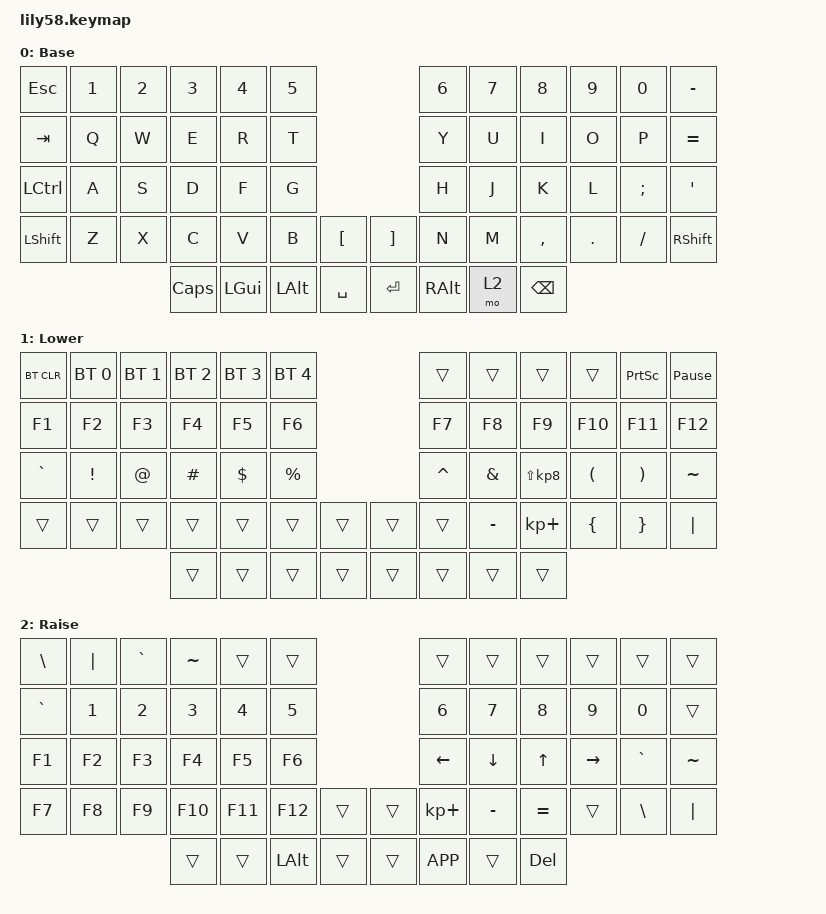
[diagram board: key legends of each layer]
/*
 * Based on github.com/typeractivexyz/lily58-wireless-zmk-config (MIT).
 * Encoder sensor-bindings removed (no encoders).
 */

/*
 * Copyright (c) 2020 The ZMK Contributors
 *
 * SPDX-License-Identifier: MIT
 */

#include <behaviors.dtsi>
#include <dt-bindings/zmk/keys.h>
#include <dt-bindings/zmk/bt.h>
#include <dt-bindings/zmk/ext_power.h>
#include <dt-bindings/zmk/pointing.h>

/ {
    keymap {
        compatible = "zmk,keymap";

        default_layer {
// ------------------------------------------------------------------------------------------------------------
// |  ESC  | N1 | N2 |  N3  |  N4  |  N5  |       |  |      |  N6  |  N7 |   N8  |  N9 |  N0  | MINUS |
// |  TAB  | Q  | W  |  E   |  R   |  T   |       |  |      |  Y   |  U  |   I   |  O  |  P   | EQUAL |
// | LCTRL | A  | S  |  D   |  F   |  G   |       |  |      |  H   |  J  |   K   |  L  | SEMI |  SQT  |
// | LSHFT | Z  | X  |  C   |  V   |  B   |  LBKT |  | RBKT |  N   |  M  | COMMA | DOT | FSLH | RSHFT |
// |       |    |    | CAPS | LGUI | LALT | SPACE |  | RET  | RALT | MO2 |  BSPC |     |      |       |
            display-name = "Base";
            bindings = <
&kp ESC   &kp N1 &kp N2 &kp N3   &kp N4   &kp N5                        &kp N6   &kp N7 &kp N8    &kp N9  &kp N0   &kp MINUS
&kp TAB   &kp Q  &kp W  &kp E    &kp R    &kp T                         &kp Y    &kp U  &kp I     &kp O   &kp P    &kp EQUAL
&kp LCTRL &kp A  &kp S  &kp D    &kp F    &kp G                         &kp H    &kp J  &kp K     &kp L   &kp SEMI &kp SQT
&kp LSHFT &kp Z  &kp X  &kp C    &kp V    &kp B    &kp LBKT    &kp RBKT &kp N    &kp M  &kp COMMA &kp DOT &kp FSLH &kp RSHFT
                        &kp CAPS &kp LGUI &kp LALT &kp SPACE   &kp RET  &kp RALT &mo 2  &kp BSPC
            >;
        };

        lower_layer {
// ------------------------------------------------------------------------------------------------------------
// | BTCLR | BT0  | BT1 | BT2  |  BT3   |  BT4  |  |  |  |       |       |           |      | PSCRN | PAUSE_BREAK |
// |   F1  |  F2  |  F3 |  F4  |   F5   |   F6  |  |  |  |   F7  |   F8  |     F9    | F10  |  F11  |     F12     |
// | GRAVE | EXCL |  AT | HASH | DOLLAR | PRCNT |  |  |  | CARET |  AMPS | LS(KP_N8) | LPAR |  RPAR |    TILDE    |
// |       |      |     |      |        |       |  |  |  |       | MINUS |  KP_PLUS  | LBRC |  RBRC |     PIPE    |
// |       |      |     |      |        |       |  |  |  |       |       |           |      |       |             |
            display-name = "Lower";
            bindings = <
&bt BT_CLR &bt BT_SEL 0 &bt BT_SEL 1 &bt BT_SEL 2 &bt BT_SEL 3 &bt BT_SEL 4                 &trans    &trans    &trans        &trans   &kp PSCRN &kp PAUSE_BREAK
&kp F1     &kp F2       &kp F3       &kp F4       &kp F5       &kp F6                       &kp F7    &kp F8    &kp F9        &kp F10  &kp F11   &kp F12
&kp GRAVE  &kp EXCL     &kp AT       &kp HASH     &kp DOLLAR   &kp PRCNT                    &kp CARET &kp AMPS  &kp LS(KP_N8) &kp LPAR &kp RPAR  &kp TILDE
&trans     &trans       &trans       &trans       &trans       &trans       &trans   &trans &trans    &kp MINUS &kp KP_PLUS   &kp LBRC &kp RBRC  &kp PIPE
                                     &trans       &trans       &trans       &trans   &trans &trans    &trans    &trans
            >;
        };

        raise_layer {
// ------------------------------------------------------------------------------------------------------------
// |  BSLH | PIPE | GRAVE | TILDE |     |      |  |  |  |         |       |       |       |       |       |
// | GRAVE |  N1  |   N2  |   N3  |  N4 |  N5  |  |  |  |    N6   |   N7  |   N8  |   N9  |   N0  |       |
// |   F1  |  F2  |   F3  |   F4  |  F5 |  F6  |  |  |  |   LEFT  |  DOWN |   UP  | RIGHT | GRAVE | TILDE |
// |   F7  |  F8  |   F9  |  F10  | F11 | F12  |  |  |  | KP_PLUS | MINUS | EQUAL |       |  BSLH |  PIPE |
// |       |      |       |       |     | LALT |  |  |  |  K_APP  |       |  DEL  |       |       |       |
            display-name = "Raise";
            bindings = <
&kp BSLH  &kp PIPE &kp GRAVE &kp TILDE &trans  &trans                   &trans      &trans    &trans    &trans    &trans    &trans
&kp GRAVE &kp N1   &kp N2    &kp N3    &kp N4  &kp N5                   &kp N6      &kp N7    &kp N8    &kp N9    &kp N0    &trans
&kp F1    &kp F2   &kp F3    &kp F4    &kp F5  &kp F6                   &kp LEFT    &kp DOWN  &kp UP    &kp RIGHT &kp GRAVE &kp TILDE
&kp F7    &kp F8   &kp F9    &kp F10   &kp F11 &kp F12  &trans   &trans &kp KP_PLUS &kp MINUS &kp EQUAL &trans    &kp BSLH  &kp PIPE
                             &trans    &trans  &kp LALT &trans   &trans &kp K_APP   &trans    &kp DEL
            >;
        };
    };
};
